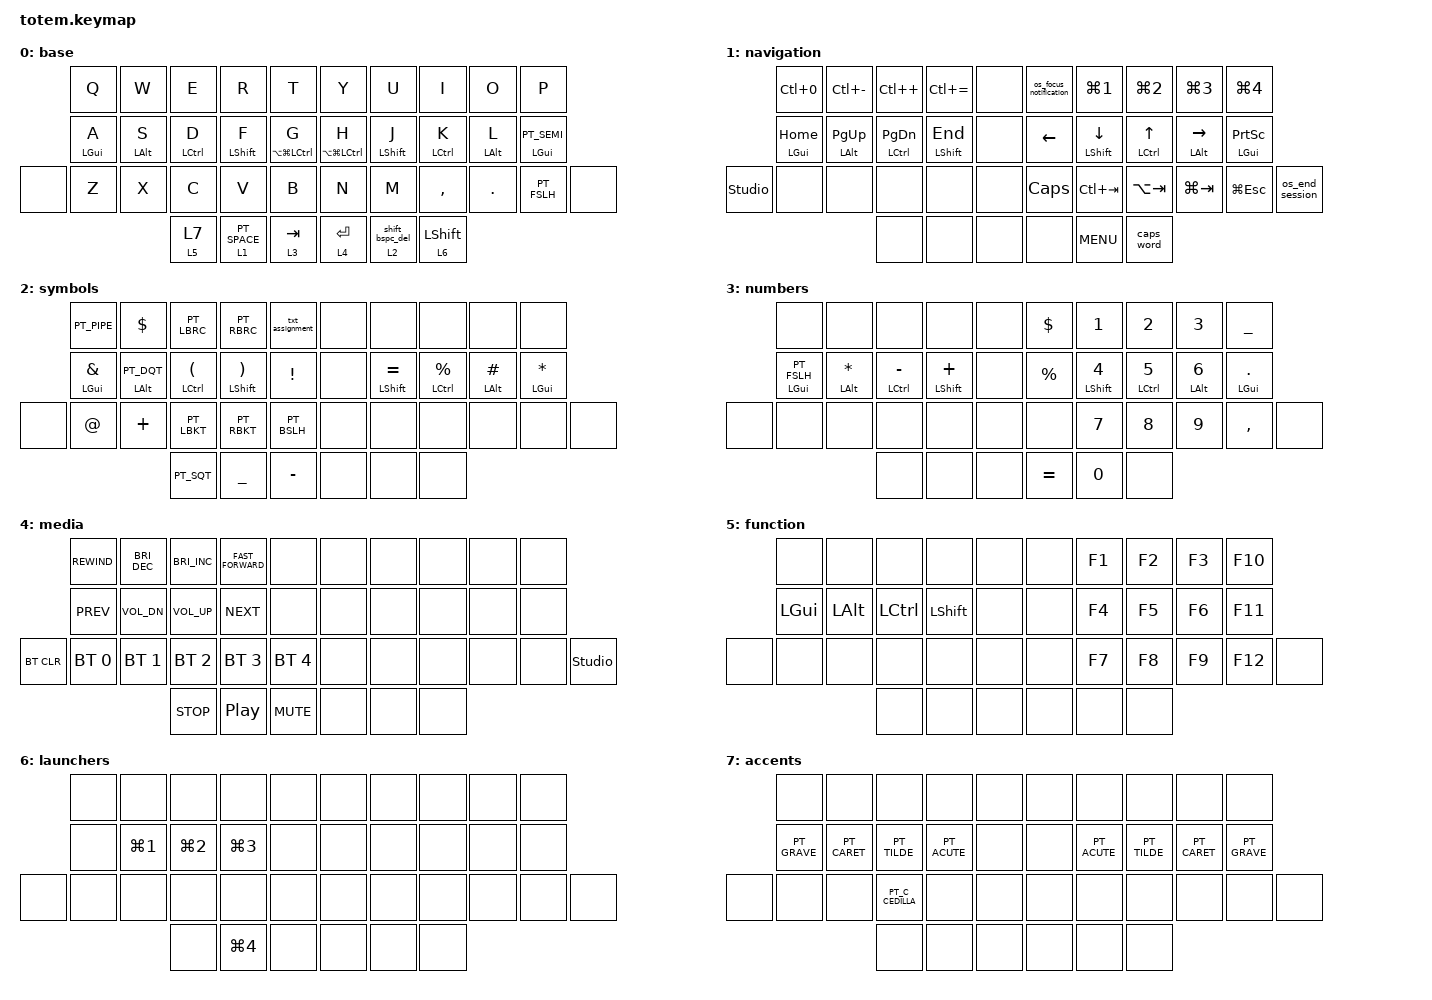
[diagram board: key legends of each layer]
//
//                                                        ▀▀▀▀▀     ▀▀▀▀▀          ▀▀█▀▀
//                                                        ▄▀▀▀▄  ▄  ▄▀▀▀▄  ▄  ▄▀▀▀▄  █  ▄▀▀▀▄
//                                                        █   █  █  █   █  █  █   █  █  █   █
//                                                         ▀▀▀   █   ▀▀▀   █   ▀▀▀   ▀   ▀▀▀
//                                                               █      ▄▄▄█▄▄▄    █   █  
//                                                               ▀      █  █  █     █▄█
//                                                             ▀▀▀▀▀    █  █  █      ▀
//                                                                      ▀  ▀  ▀
//
// ▄▄▄▄▄▄▄▄▄▄▄▄▄▄▄▄▄▄▄▄▄▄▄▄▄▄▄▄▄▄▄▄▄▄▄▄▄▄▄▄▄▄▄▄▄▄▄▄▄▄▄▄▄▄▄▄▄▄▄▄▄▄▄▄▄▄▄▄▄▄▄▄▄▄▄▄▄▄▄▄▄▄▄▄▄▄▄▄▄▄▄▄▄▄▄▄▄▄▄▄▄▄▄▄▄▄▄▄▄▄▄▄▄▄▄▄▄▄▄▄▄▄▄▄▄▄▄▄▄▄▄▄▄▄▄▄▄▄▄▄▄▄▄▄▄▄▄▄▄

#include <locale/keys_pt_abnt2.h>
#include <behaviors.dtsi>
#include <dt-bindings/zmk/bt.h>
#include <dt-bindings/zmk/keys.h>

&lt {
    flavor = "balanced";
    tapping-term-ms = <300>;
    quick-tap-ms = <250>;
    require-prior-idle-ms = <50>;
};

&sk { quick-release; };

/ {
    behaviors {
        sk_mo_r: sticky_key_momentary_layer_r {
            compatible = "zmk,behavior-hold-tap";
            label = "STICKY_KEY_MOMENTARY_LAYER_R";
            bindings = <&mo>, <&sk>;

            #binding-cells = <2>;
            tapping-term-ms = <300>;
            quick-tap-ms = <250>;
            require-prior-idle-ms = <50>;
            flavor = "balanced";
            hold-trigger-key-positions = <10 11 12 13 32 33 34 0 1 2 3 4 10 11 12 13 14 20 21 22 23 24 25 32 33 35 36 37 16 17 18 19>;
        };

        shift_bspc_del: shift_bspc_del {
            compatible = "zmk,behavior-mod-morph";
            label = "SHIFT_BSPC_DEL";
            bindings = <&kp BACKSPACE>, <&kp DELETE>;

            #binding-cells = <0>;
            mods = <(MOD_LSFT|MOD_RSFT)>;
        };

        lt_bspc_r: lt_bspc_r {
            compatible = "zmk,behavior-hold-tap";
            label = "LT_BSPC_R";
            bindings = <&mo>, <&shift_bspc_del>;

            #binding-cells = <2>;
            tapping-term-ms = <300>;
            quick-tap-ms = <250>;
            require-prior-idle-ms = <50>;
            flavor = "balanced";
            hold-trigger-key-positions = <10 11 12 13 21 22 23 24 16 17 18 19 0 1 2 3 4 10 11 12 13 14 20 21 22 23 24 25 32 33 34>;
        };

        hrm_l: homerow_mod_left {
            compatible = "zmk,behavior-hold-tap";
            label = "HOMEROW_MOD_LEFT";
            bindings = <&kp>, <&kp>;

            #binding-cells = <2>;
            tapping-term-ms = <300>;
            quick-tap-ms = <250>;
            require-prior-idle-ms = <50>;
            flavor = "balanced";
            hold-trigger-key-positions = <31 9 19 30 8 18 29 7 17 28 6 16 27 5 15 26 37 36 35 13 12 11 10 32 34 33>;
        };

        hrm_r: homerow_mod_right {
            compatible = "zmk,behavior-hold-tap";
            label = "HOMEROW_MOD_RIGHT";
            bindings = <&kp>, <&kp>;

            #binding-cells = <2>;
            tapping-term-ms = <300>;
            quick-tap-ms = <250>;
            require-prior-idle-ms = <50>;
            flavor = "balanced";
            hold-trigger-key-positions = <0 1 2 3 4 10 11 12 13 14 20 21 22 23 24 25 32 33 34 34 16 17 18 19 35 36 37>;
        };

        hrm_l_hwu: homerow_mod_left_hwu {
            compatible = "zmk,behavior-hold-tap";
            label = "HOMEROW_MOD_LEFT_HWU";
            bindings = <&kp>, <&kp>;

            #binding-cells = <2>;
            tapping-term-ms = <300>;
            quick-tap-ms = <250>;
            require-prior-idle-ms = <50>;
            flavor = "balanced";
            hold-trigger-key-positions = <31 9 19 30 8 18 29 7 17 28 6 16 27 5 15 26 37 36 35 13 12 11 10 32 33 34>;
        };

        hrm_r_hwu: homerow_mod_right_hwu {
            compatible = "zmk,behavior-hold-tap";
            label = "HOMEROW_MOD_RIGHT_HWU";
            bindings = <&kp>, <&kp>;

            #binding-cells = <2>;
            tapping-term-ms = <300>;
            quick-tap-ms = <250>;
            require-prior-idle-ms = <50>;
            flavor = "balanced";
            hold-trigger-key-positions = <0 1 2 3 4 10 11 12 13 14 20 21 22 23 24 25 32 33 34 34 35 36 37 16 17 18 19>;
        };

        sl_mo_l: sticky_layer_momentary_layer_l {
            compatible = "zmk,behavior-hold-tap";
            label = "STICKY_LAYER_MOMENTARY_LAYER_L";
            bindings = <&mo>, <&sl>;

            #binding-cells = <2>;
            tapping-term-ms = <300>;
            quick-tap-ms = <250>;
            require-prior-idle-ms = <50>;
            flavor = "balanced";
            hold-trigger-key-positions = <35 36 37 5 15 26 6 16 27 7 17 28 8 18 29 9 19 30 31 13 12 11 10 32 33 34>;
        };
    };

    macros {
        os_focus_notification: os_dismiss_notification {
            compatible = "zmk,behavior-macro";
            #binding-cells = <0>;
            bindings = <&kp LG(R)>;
            label = "OS_DISMISS_NOTIFICATION";
        };

        os_end_session: os_end_session {
            compatible = "zmk,behavior-macro";
            #binding-cells = <0>;
            bindings = <&kp LA(LC(DELETE))>;
            label = "OS_END_SESSION";
        };

        os_lock_screen: os_lock_screen {
            compatible = "zmk,behavior-macro";
            #binding-cells = <0>;
            bindings = <&kp LA(LC(BACKSPACE))>;
            label = "OS_LOCK_SCREEN";
        };

        txt_assignment: txt_assignment {
            compatible = "zmk,behavior-macro";
            #binding-cells = <0>;
            bindings = <&kp PT_SPACE &kp PT_EQUAL &kp PT_SPACE>;
            label = "TXT_ASSIGNMENT";
        };

        txt_equals: txt_equals {
            compatible = "zmk,behavior-macro";
            #binding-cells = <0>;
            bindings = <&kp PT_SPACE &kp PT_EQUAL &kp PT_EQUAL &kp PT_SPACE>;
            label = "TXT_EQUALS";
        };

        txt_nequals: txt_nequals {
            compatible = "zmk,behavior-macro";
            #binding-cells = <0>;
            bindings = <&kp PT_SPACE &kp PT_EXCL &kp PT_EQUAL &kp PT_SPACE>;
            label = "TXT_NEQUALS";
        };
    };

    combos {
        compatible = "zmk,combos";

        left_super {
            bindings = <&kp LGUI>;
            key-positions = <13 12>;
        };

        right_esc {
            bindings = <&kp ESC>;
            key-positions = <16 17>;
        };
    };

    keymap {
        compatible = "zmk,keymap";

        base {
            bindings = <
       &kp Q          &kp W              &kp E           &kp R                &kp T                     &kp Y                   &kp U                &kp I                  &kp O              &kp P
       &hrm_l LGUI A  &hrm_l LEFT_ALT S  &hrm_l LCTRL D  &hrm_l LEFT_SHIFT F  &hrm_l LA(LG(LCTRL)) G    &hrm_r LA(LG(LCTRL)) H  &hrm_r LEFT_SHIFT J  &hrm_r LEFT_CONTROL K  &hrm_r LEFT_ALT L  &hrm_r LGUI PT_SEMI
&none  &kp Z          &kp X              &kp C           &kp V                &kp B                     &kp N                   &kp M                &kp COMMA              &kp DOT            &kp PT_FSLH          &none
                                         &sl_mo_l 5 7    &lt 1 PT_SPACE       &lt 3 TAB                 &lt 4 ENTER             &lt_bspc_r 2 0       &sk_mo_r 6 LEFT_SHIFT
            >;
        };

        navigation {
            bindings = <
                &kp LC(N0)            &kp LC(MINUS)            &kp LC(PLUS)                   &kp LC(EQUAL)          &none    &os_focus_notification  &kp LG(NUMBER_1)        &kp LG(N2)              &kp LG(N3)             &kp LG(NUMBER_4)
                &hrm_l LEFT_GUI HOME  &hrm_l LEFT_ALT PAGE_UP  &hrm_l LEFT_CONTROL PAGE_DOWN  &hrm_l LEFT_SHIFT END  &none    &kp LEFT_ARROW          &hrm_r LEFT_SHIFT DOWN  &hrm_r LEFT_CONTROL UP  &hrm_r LEFT_ALT RIGHT  &hrm_r LEFT_GUI PRINTSCREEN
&studio_unlock  &none                 &none                    &none                          &none                  &none    &kp CAPSLOCK            &kp LC(TAB)             &kp LA(TAB)             &kp LG(TAB)            &kp LG(ESC)                  &os_end_session
                                                               &none                          &none                  &none    &none                   &kp K_MENU              &caps_word
            >;
        };

        symbols {
            bindings = <
       &kp PT_PIPE           &kp DLLR                &kp PT_LBRC               &kp PT_RBRC             &txt_assignment    &none  &none                    &none                      &none                 &none
       &hrm_l LEFT_GUI AMPS  &hrm_l LEFT_ALT PT_DQT  &hrm_l LEFT_CONTROL LPAR  &hrm_l LEFT_SHIFT RPAR  &kp EXCL           &none  &hrm_r LEFT_SHIFT EQUAL  &hrm_r LEFT_CONTROL PRCNT  &hrm_r LEFT_ALT HASH  &hrm_r LEFT_GUI STAR
&none  &kp AT                &kp PLUS                &kp PT_LBKT               &kp PT_RBKT             &kp PT_BSLH        &none  &none                    &none                      &none                 &none                 &none
                                                     &kp PT_SQT                &kp UNDER               &kp MINUS          &none  &none                    &none
            >;
        };

        numbers {
            bindings = <
       &none                    &none                 &none                      &none                   &none    &kp DLLR   &kp N1                &kp N2                  &kp N3              &kp UNDER
       &hrm_l LEFT_GUI PT_FSLH  &hrm_l LEFT_ALT STAR  &hrm_l LEFT_CONTROL MINUS  &hrm_l LEFT_SHIFT PLUS  &none    &kp PRCNT  &hrm_r LEFT_SHIFT N4  &hrm_r LEFT_CONTROL N5  &hrm_r LEFT_ALT N6  &hrm_r LEFT_GUI DOT
&none  &none                    &none                 &none                      &none                   &none    &none      &kp N7                &kp N8                  &kp N9              &kp COMMA            &none
                                                      &none                      &none                   &none    &kp EQUAL  &kp N0                &none
            >;
        };

        media {
            bindings = <
            &kp C_REWIND  &kp C_BRIGHTNESS_DEC  &kp C_BRIGHTNESS_INC  &kp C_FAST_FORWARD  &none           &none  &none  &none  &none  &none
            &kp C_PREV    &kp C_VOL_DN          &kp C_VOLUME_UP       &kp C_NEXT          &none           &none  &none  &none  &none  &none
&bt BT_CLR  &bt BT_SEL 0  &bt BT_SEL 1          &bt BT_SEL 2          &bt BT_SEL 3        &bt BT_SEL 4    &none  &none  &none  &none  &none  &studio_unlock
                                                &kp C_STOP            &kp C_PLAY_PAUSE    &kp K_MUTE      &none  &none  &none
            >;
        };

        function {
            bindings = <
       &none         &none         &none             &none           &none    &none  &kp F1  &kp F2  &kp F3  &kp F10
       &kp LEFT_GUI  &kp LEFT_ALT  &kp LEFT_CONTROL  &kp LEFT_SHIFT  &none    &none  &kp F4  &kp F5  &kp F6  &kp F11
&none  &none         &none         &none             &none           &none    &none  &kp F7  &kp F8  &kp F9  &kp F12  &none
                                   &none             &none           &none    &none  &none   &none
            >;
        };

        launchers {
            bindings = <
       &none  &none       &none       &none       &none    &none  &none  &none  &none  &none
       &none  &kp LG(N1)  &kp LG(N2)  &kp LG(N3)  &none    &none  &none  &none  &none  &none
&none  &none  &none       &none       &none       &none    &none  &none  &none  &none  &none  &none
                          &none       &kp LG(N4)  &none    &none  &none  &none
            >;
        };

        accents {
            bindings = <
       &none         &none         &none             &none         &none    &none  &none         &none         &none         &none
       &kp PT_GRAVE  &kp PT_CARET  &kp PT_TILDE      &kp PT_ACUTE  &none    &none  &kp PT_ACUTE  &kp PT_TILDE  &kp PT_CARET  &kp PT_GRAVE
&none  &none         &none         &kp PT_C_CEDILLA  &none         &none    &none  &none         &none         &none         &none         &none
                                   &none             &none         &none    &none  &none         &none
            >;
        };
    };

    conditional_layers { compatible = "zmk,conditional-layers"; };
};
